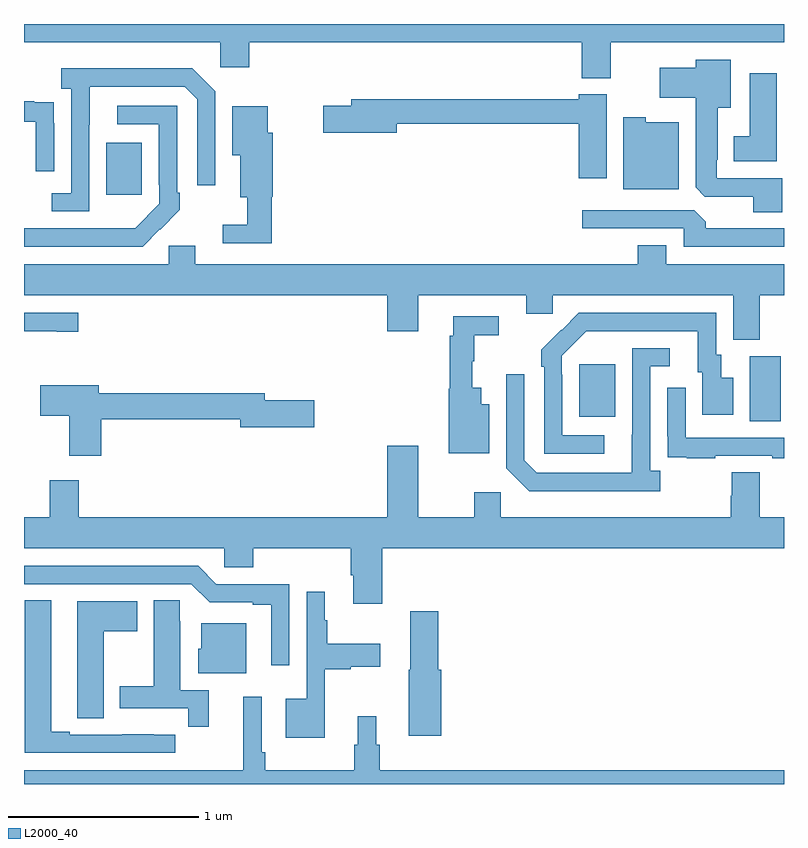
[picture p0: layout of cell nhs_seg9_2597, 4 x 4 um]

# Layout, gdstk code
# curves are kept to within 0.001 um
import gdstk
lib = gdstk.Library(unit=1e-6, precision=1e-09)
def R(c, l, rs):  # rectangles x0, y0, x1, y1
    for r in rs: c.add(gdstk.rectangle(r[:2], r[2:], *l))
def P(c, l, *ps):  # polygons
    for p in ps: c.add(gdstk.Polygon(p, *l))
L2000_40 = (2000, 40)

nhs_seg9_2597 = lib.new_cell('nhs_seg9_2597')
R(nhs_seg9_2597, L2000_40, [(262.82,1210.408,262.984,1210.752), (261.923,1210.433,262.111,1210.708), (259.433,1211.601,259.621,1211.875)])
P(nhs_seg9_2597, L2000_40, [(262.087,1212.404),(263,1212.404),(263,1212.5),(259,1212.5),(259,1212.404),(260.034,1212.404),(260.034,1212.273),(260.186,1212.273),(260.186,1212.404),(261.935,1212.404),(261.935,1212.215),(262.087,1212.215)],
  [(262.991,1211.688),(262.647,1211.688),(262.647,1211.785),(262.651,1211.785),(262.651,1212.059),(262.72,1212.059),(262.72,1212.313),(262.535,1212.313),(262.535,1212.271),(262.347,1212.271),(262.347,1212.113),(262.535,1212.113),(262.535,1211.641),(262.584,1211.592),(262.838,1211.592),(262.838,1211.509),(262.991,1211.509)],
  [(259.344,1211.971),(259.345,1212.171),(259.845,1212.171),(259.911,1212.105),(259.911,1211.652),(260.007,1211.652),(260.007,1212.147),(259.886,1212.268),(259.197,1212.268),(259.197,1212.158),(259.248,1212.158),(259.248,1211.61),(259.146,1211.61),(259.146,1211.514),(259.344,1211.514)],
  [(262.963,1212.241),(262.82,1212.241),(262.82,1211.908),(262.736,1211.908),(262.736,1211.777),(262.963,1211.777)],
  [(262.066,1212.13),(261.92,1212.13),(261.92,1212.103),(260.723,1212.103),(260.723,1212.069),(260.574,1212.069),(260.574,1211.927),(260.962,1211.927),(260.962,1211.974),(261.92,1211.974),(261.92,1211.688),(262.066,1211.688)],
  [(259.158,1211.978),(259.157,1211.978),(259.157,1212.087),(259.055,1212.087),(259.055,1212.094),(259,1212.094),(259,1211.985),(259.062,1211.985),(259.062,1211.724),(259.158,1211.724)],
  [(259.715,1211.419),(259.716,1211.418),(259.821,1211.523),(259.821,1211.611),(259.806,1211.611),(259.806,1212.069),(259.491,1212.069),(259.491,1211.973),(259.71,1211.973),(259.71,1211.653),(259.713,1211.653),(259.713,1211.553),(259.585,1211.425),(259,1211.424),(259,1211.328),(259.624,1211.328)],
  [(260.303,1211.592),(260.309,1211.592),(260.309,1211.928),(260.284,1211.928),(260.284,1212.067),(260.096,1212.067),(260.096,1211.81),(260.138,1211.81),(260.138,1211.588),(260.175,1211.588),(260.175,1211.443),(260.046,1211.443),(260.046,1211.346),(260.303,1211.346)],
  [(262.447,1211.983),(262.272,1211.983),(262.272,1212.01),(262.154,1212.01),(262.154,1211.63),(262.447,1211.63)],
  [(263,1211.424),(262.589,1211.424),(262.589,1211.458),(262.527,1211.52),(261.939,1211.52),(261.939,1211.424),(262.473,1211.424),(262.473,1211.328),(263,1211.328)],
  [(262.873,1211.072),(263,1211.072),(263,1211.236),(262.381,1211.236),(262.381,1211.335),(262.229,1211.335),(262.229,1211.236),(259.9,1211.236),(259.9,1211.334),(259.761,1211.334),(259.761,1211.236),(259,1211.236),(259,1211.072),(260.912,1211.072),(260.912,1210.884),(261.076,1210.884),(261.076,1211.072),(261.644,1211.072),(261.644,1210.974),(261.783,1210.974),(261.783,1211.072),(262.733,1211.072),(262.733,1210.837),(262.873,1210.837)],
  [(262.054,1210.335),(261.834,1210.335),(261.834,1210.655),(261.831,1210.655),(261.831,1210.755),(261.96,1210.884),(262.547,1210.884),(262.547,1210.668),(262.571,1210.668),(262.571,1210.443),(262.732,1210.443),(262.732,1210.639),(262.669,1210.639),(262.669,1210.758),(262.644,1210.758),(262.644,1210.98),(261.92,1210.98),(261.723,1210.785),(261.723,1210.697),(261.738,1210.697),(261.738,1210.239),(262.054,1210.239)],
  [(259.285,1210.98),(259,1210.98),(259,1210.884),(259.172,1210.884),(259.172,1210.879),(259.285,1210.879)],
  [(261.448,1210.498),(261.406,1210.498),(261.406,1210.585),(261.359,1210.585),(261.359,1210.725),(261.37,1210.725),(261.37,1210.861),(261.499,1210.861),(261.499,1210.962),(261.26,1210.962),(261.26,1210.859),(261.241,1210.859),(261.241,1210.581),(261.236,1210.581),(261.236,1210.241),(261.448,1210.241)],
  [(262.348,1210.15),(262.296,1210.15),(262.296,1210.698),(262.399,1210.698),(262.399,1210.794),(262.2,1210.794),(262.199,1210.137),(261.699,1210.137),(261.633,1210.203),(261.633,1210.657),(261.537,1210.657),(261.537,1210.161),(261.658,1210.04),(262.348,1210.04)],
  [(259.406,1210.42),(260.138,1210.42),(260.138,1210.378),(260.527,1210.378),(260.527,1210.52),(260.266,1210.52),(260.266,1210.556),(259.393,1210.556),(259.393,1210.6),(259.086,1210.6),(259.086,1210.438),(259.238,1210.438),(259.238,1210.227),(259.406,1210.227)],
  [(262.637,1210.227),(262.937,1210.227),(262.937,1210.215),(263,1210.215),(263,1210.323),(262.482,1210.323),(262.482,1210.585),(262.386,1210.585),(262.386,1210.33),(262.387,1210.33),(262.387,1210.221),(262.489,1210.221),(262.489,1210.215),(262.637,1210.215)],
  [(260.885,1209.74),(263,1209.74),(263,1209.904),(262.873,1209.904),(262.873,1210.142),(262.726,1210.142),(262.726,1210.017),(262.721,1210.017),(262.721,1209.904),(261.51,1209.904),(261.51,1210.036),(261.371,1210.036),(261.371,1209.904),(261.076,1209.904),(261.076,1210.279),(260.912,1210.279),(260.912,1209.904),(259.289,1209.904),(259.289,1210.099),(259.136,1210.099),(259.136,1209.904),(259,1209.904),(259,1209.74),(260.055,1209.74),(260.055,1209.642),(260.207,1209.642),(260.207,1209.74),(260.72,1209.74),(260.72,1209.598),(260.732,1209.598),(260.732,1209.45),(260.885,1209.45)],
  [(260.397,1209.552),(260.013,1209.552),(259.917,1209.648),(259,1209.648),(259,1209.552),(259.881,1209.552),(259.977,1209.456),(260.204,1209.456),(260.204,1209.444),(260.3,1209.444),(260.3,1209.126),(260.397,1209.126)],
  [(260.584,1209.104),(260.721,1209.104),(260.721,1209.116),(260.875,1209.116),(260.875,1209.238),(260.596,1209.238),(260.596,1209.362),(260.584,1209.362),(260.584,1209.511),(260.487,1209.511),(260.487,1208.95),(260.378,1208.95),(260.378,1208.744),(260.584,1208.744)],
  [(259.795,1208.76),(259.682,1208.76),(259.682,1208.761),(259.516,1208.761),(259.516,1208.76),(259.24,1208.76),(259.24,1208.775),(259.144,1208.775),(259.144,1209.467),(259.004,1209.467),(259.004,1208.664),(259.795,1208.664)],
  [(259.973,1208.994),(259.822,1208.994),(259.822,1209.356),(259.821,1209.356),(259.821,1209.467),(259.682,1209.467),(259.682,1209.015),(259.505,1209.015),(259.505,1208.898),(259.864,1208.898),(259.864,1208.802),(259.973,1208.802)],
  [(259.42,1209.304),(259.597,1209.304),(259.597,1209.463),(259.28,1209.463),(259.28,1208.953),(259.281,1208.953),(259.281,1208.845),(259.42,1208.845)],
  [(261.197,1209.102),(261.179,1209.102),(261.179,1209.409),(261.032,1209.409),(261.032,1209.102),(261.026,1209.102),(261.026,1208.754),(261.197,1208.754)],
  [(260.17,1209.346),(259.934,1209.346),(259.934,1209.213),(259.916,1209.213),(259.916,1209.083),(260.17,1209.083)],
  [(263,1208.572),(260.873,1208.572),(260.873,1208.706),(260.854,1208.706),(260.854,1208.857),(260.756,1208.857),(260.756,1208.706),(260.737,1208.706),(260.737,1208.572),(260.27,1208.572),(260.27,1208.668),(260.25,1208.668),(260.25,1208.959),(260.153,1208.959),(260.153,1208.572),(259,1208.572),(259,1208.5),(263,1208.5)])

lib.write_gds('nhs_seg9_2597.gds')
